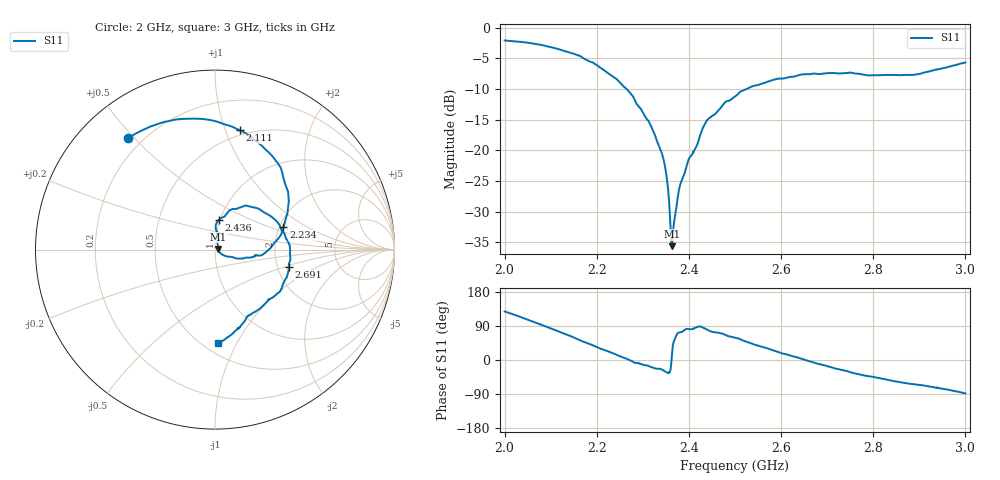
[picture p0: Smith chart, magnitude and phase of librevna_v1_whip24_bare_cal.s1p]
! AntennaFox export: 2.4 GHz whip - bare (d94ec25b995d4237a31d44c667a22062)
! Instrument: LibreVNA,LibreVNA-GUI,209D39773350,1.6.5
! Calibration (instrument-reported): OSL_1
! Simulated: False
# HZ S RI R 50
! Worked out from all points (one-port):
!   1001 points, 2 GHz to 3 GHz, reference 50 ohm
!   lowest |S11| = -35.6 dB at 2.363 GHz (marker M1), VSWR 1.03, Z = 51.6 + j0.405 ohm
!   |S11| at or under -10 dB: 2.265 GHz to 2.525 GHz (259.4 MHz wide, 10.8 % of centre)
!   S11 on the Smith chart (normalised r, x): 2 GHz: 0.15, +0.48; 2.111 GHz: 0.45, +1.12; 2.234 GHz: 2.10, +0.64; 2.436 GHz: 0.99, +0.34; 2.691 GHz: 2.31, -0.54; 3 GHz: 0.59, -0.84
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2e9  -0.4867 0.6202
2.055e9  -0.185 0.7281
2.111e9  0.137 0.6656
2.125e9  0.2048 0.6214
2.17e9  0.3755 0.4264
2.199e9  0.4101 0.2838
2.234e9  0.3815 0.127
2.25e9  0.3522 0.0619
2.281e9  0.2634 -0.0294
2.313e9  0.1644 -0.0476
2.339e9  0.0911 -0.0406
2.346e9  0.071 -0.0384
2.351e9  0.0533 -0.0339
2.36e9  0.0214 -0.0102
2.363e9  0.0161 0.00393
2.367e9  0.0165 0.0182
2.375e9  0.0136 0.0373
2.382e9  0.0156 0.0516
2.398e9  0.0111 0.0807
2.436e9  0.0217 0.1664
2.5e9  0.1428 0.2353
2.566e9  0.3023 0.1913
2.625e9  0.393 0.0685
2.691e9  0.4115 -0.0963
2.75e9  0.3658 -0.228
2.875e9  0.1934 -0.3641
2.943e9  0.1247 -0.4436
3e9  0.0173 -0.5214
